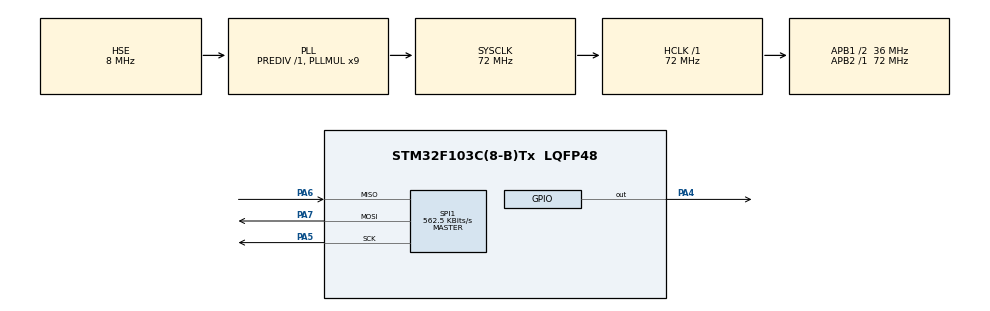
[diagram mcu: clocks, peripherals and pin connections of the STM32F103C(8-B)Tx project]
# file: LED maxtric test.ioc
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Mcu.Family=STM32F1
Mcu.Name=STM32F103C(8-B)Tx
Mcu.Package=LQFP48
NVIC.PriorityGroup=NVIC_PRIORITYGROUP_4
NVIC.SPI1_IRQn=true\:0\:0\:false\:false\:true\:true\:true\:true
PA13.Mode=Serial_Wire
PA13.Signal=SYS_JTMS-SWDIO
PA14.Mode=Serial_Wire
PA14.Signal=SYS_JTCK-SWCLK
PA4.GPIO_PuPd=GPIO_PULLUP
PA4.Signal=GPIO_Output
PA5.Mode=Full_Duplex_Master
PA5.Signal=SPI1_SCK
PA6.Mode=Full_Duplex_Master
PA6.Signal=SPI1_MISO
PA7.Mode=Full_Duplex_Master
PA7.Signal=SPI1_MOSI
PD0-OSC_IN.Mode=HSE-External-Oscillator
PD0-OSC_IN.Signal=RCC_OSC_IN
PD1-OSC_OUT.Mode=HSE-External-Oscillator
PD1-OSC_OUT.Signal=RCC_OSC_OUT
ProjectManager.HeapSize=0x200
ProjectManager.StackSize=0x400
ProjectManager.TargetToolchain=MDK-ARM V5
RCC.AHBFreq_Value=72000000
RCC.APB1CLKDivider=RCC_HCLK_DIV2
RCC.APB1Freq_Value=36000000
RCC.APB1TimFreq_Value=72000000
RCC.APB2Freq_Value=72000000
RCC.APB2TimFreq_Value=72000000
RCC.HCLKFreq_Value=72000000
RCC.PLLMUL=RCC_PLL_MUL9
RCC.PLLSourceVirtual=RCC_PLLSOURCE_HSE
RCC.SYSCLKFreq_VALUE=72000000
RCC.SYSCLKSource=RCC_SYSCLKSOURCE_PLLCLK
RCC.USBFreq_Value=72000000
SPI1.BaudRatePrescaler=SPI_BAUDRATEPRESCALER_128
SPI1.CalculateBaudRate=562.5 KBits/s
SPI1.Direction=SPI_DIRECTION_2LINES
SPI1.Mode=SPI_MODE_MASTER
SPI1.VirtualType=VM_MASTER
board=custom

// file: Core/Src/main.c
/* USER CODE BEGIN Header */
/**
  ******************************************************************************
  * @file           : main.c
  * @brief          : Main program body
  ******************************************************************************
  * @attention
  *
  * <h2><center>&copy; Copyright (c) 2021 STMicroelectronics.
  * All rights reserved.</center></h2>
  *
  * This software component is licensed by ST under BSD 3-Clause license,
  * the "License"; You may not use this file except in compliance with the
  * License. You may obtain a copy of the License at:
  *                        opensource.org/licenses/BSD-3-Clause
  *
  ******************************************************************************
  */
/* USER CODE END Header */
#include "main.h"

/* USER CODE BEGIN PTD */
#define No_Op  0x00
#define Digit0 0x01
#define Digit1 0x02
#define Digit2 0x03
#define Digit3 0x04
#define Digit4 0x05
#define Digit5 0x06
#define Digit6 0x07
#define Digit7 0x08

#define DecodeMode  0x09
#define Intensity   0x0A
#define ScanLimit   0x0B
#define Shutdown    0x0C
#define DisplayTest 0x0F
/* USER CODE END PTD */

 SPI_HandleTypeDef hspi1;

/* USER CODE BEGIN PV */
void MAX7219_write(uint8_t address, uint8_t data);
/* USER CODE END PV */

void SystemClock_Config(void);
static void MX_GPIO_Init(void);
static void MX_SPI1_Init(void);

/* USER CODE BEGIN 0 */
int show_num0[8][8] =
{ {0, 0, 1, 1, 1, 1, 0, 0},
  {0, 1, 1, 0, 0, 1, 1, 0},
  {0, 1, 1, 1, 0, 0, 1, 0},
  {0, 1, 0, 1, 1, 0, 1, 0},
  {0, 1, 0, 0, 1, 1, 1, 0},
  {0, 1, 0, 0, 0, 1, 1, 0},
  {0, 1, 1, 0, 0, 1, 1, 0},
  {0, 0, 1, 1, 1, 1, 0, 0}
};
int show_num1[8][8] =
{ {0, 0, 0, 0, 1, 0, 0, 0},
  {0, 0, 0, 1, 1, 0, 0, 0},
  {0, 0, 1, 1, 1, 0, 0, 0},
  {0, 0, 0, 1, 1, 0, 0, 0},
  {0, 0, 0, 1, 1, 0, 0, 0},
  {0, 0, 0, 1, 1, 0, 0, 0},
  {0, 0, 0, 1, 1, 0, 0, 0},
  {0, 0, 1, 1, 1, 1, 0, 0}
};
int show_num2[8][8] =
{ {0, 0, 1, 1, 1, 1, 0, 0},
  {0, 1, 1, 0, 0, 1, 1, 0},
  {0, 1, 0, 0, 0, 1, 1, 0},
  {0, 1, 0, 0, 0, 1, 1, 0},
  {0, 0, 0, 1, 1, 1, 0, 0},
  {0, 0, 1, 1, 0, 0, 0, 0},
  {0, 1, 1, 0, 0, 0, 0, 0},
  {0, 1, 1, 1, 1, 1, 1, 0}
};
int show_num3[8][8] =
{ {0, 0, 1, 1, 1, 1, 0, 0},
  {0, 1, 0, 0, 0, 1, 1, 0},
  {0, 0, 0, 0, 0, 1, 1, 0},
  {0, 0, 0, 1, 1, 1, 1, 0},
  {0, 0, 0, 1, 1, 1, 1, 0},
  {0, 0, 0, 0, 0, 1, 1, 0},
  {0, 1, 0, 0, 0, 1, 1, 0},
  {0, 0, 1, 1, 1, 1, 0, 0}
};
int show_num4[8][8] =
{ {0, 0, 0, 0, 0, 1, 0, 0},
  {0, 0, 0, 0, 1, 1, 0, 0},
  {0, 0, 0, 1, 1, 1, 0, 0},
  {0, 0, 1, 0, 1, 1, 0, 0},
  {0, 1, 0, 0, 1, 1, 0, 0},
  {0, 1, 1, 1, 1, 1, 1, 0},
  {0, 0, 0, 0, 1, 1, 0, 0},
  {0, 0, 0, 0, 1, 1, 0, 0}
};
int show_num5[8][8] =
{ {0, 1, 1, 1, 1, 1, 1, 0},
  {0, 1, 1, 0, 0, 0, 0, 0},
  {0, 1, 1, 0, 0, 0, 0, 0},
  {0, 1, 1, 1, 1, 1, 0, 0},
  {0, 1, 1, 1, 1, 1, 1, 0},
  {0, 0, 0, 0, 0, 1, 1, 0},
  {0, 1, 0, 0, 0, 1, 1, 0},
  {0, 0, 1, 1, 1, 1, 0, 0}
};
int show_num6[8][8] =
{ {0, 0, 1, 1, 1, 1, 0, 0},
  {0, 1, 1, 0, 0, 0, 0, 0},
  {0, 1, 1, 0, 0, 0, 0, 0},
  {0, 1, 1, 1, 1, 1, 0, 0},
  {0, 1, 1, 1, 1, 1, 1, 0},
  {0, 1, 1, 0, 0, 1, 1, 0},
  {0, 1, 1, 0, 0, 1, 1, 0},
  {0, 0, 1, 1, 1, 1, 0, 0}
};
int show_num7[8][8] =
{ {0, 1, 1, 1, 1, 1, 1, 0},
  {0, 1, 0, 0, 0, 1, 1, 0},
  {0, 0, 0, 0, 0, 1, 1, 0},
  {0, 0, 0, 0, 0, 1, 0, 0},
  {0, 0, 0, 0, 1, 1, 0, 0},
  {0, 0, 0, 1, 1, 0, 0, 0},
  {0, 0, 0, 1, 1, 0, 0, 0},
  {0, 0, 0, 1, 1, 0, 0, 0}
};
int show_num8[8][8] =
{ {0, 0, 1, 1, 1, 1, 0, 0},
  {0, 1, 1, 0, 0, 1, 1, 0},
  {0, 1, 1, 0, 0, 1, 1, 0},
  {0, 0, 1, 1, 1, 1, 0, 0},
  {0, 0, 1, 1, 1, 1, 0, 0},
  {0, 1, 1, 0, 0, 1, 1, 0},
  {0, 1, 1, 0, 0, 1, 1, 0},
  {0, 0, 1, 1, 1, 1, 0, 0}
};
int show_num9[8][8] =
{ {0, 0, 1, 1, 1, 1, 0, 0},
  {0, 1, 1, 0, 0, 1, 1, 0},
  {0, 1, 1, 0, 0, 1, 1, 0},
  {0, 1, 1, 1, 1, 1, 1, 0},
  {0, 0, 1, 1, 1, 1, 1, 0},
  {0, 0, 0, 0, 0, 1, 1, 0},
  {0, 1, 0, 0, 0, 1, 1, 0},
  {0, 0, 1, 1, 1, 1, 0, 0}
};

void MAX7219_write(uint8_t address, uint8_t data)
{
	uint8_t buf[2]={0};
	buf[0]=address;
	buf[1]=data;
	HAL_GPIO_WritePin(GPIOA, GPIO_PIN_3, GPIO_PIN_RESET);
	HAL_SPI_Transmit(&hspi1,buf, 2,1);
	HAL_GPIO_WritePin(GPIOA, GPIO_PIN_3, GPIO_PIN_SET);
	HAL_Delay(1);
}
uint8_t booltoByte(int (*ShowArray_ptr)[8])
{
	uint8_t data = 0x00;
  for (int i = 0; i < 8; i++)
    data = data << 1 | ShowArray_ptr[0][i];
  return data;
}
void SetPoint(uint8_t Seg,uint8_t value)
{
	MAX7219_write(Seg, value);
}
void draw(int (*ShowArray_ptr)[8])
{
  MAX7219_write(Digit0, booltoByte(&ShowArray_ptr[0]));
  MAX7219_write(Digit1, booltoByte(&ShowArray_ptr[1]));
  MAX7219_write(Digit2, booltoByte(&ShowArray_ptr[2]));
  MAX7219_write(Digit3, booltoByte(&ShowArray_ptr[3]));
  MAX7219_write(Digit4, booltoByte(&ShowArray_ptr[4]));
  MAX7219_write(Digit5, booltoByte(&ShowArray_ptr[5]));
  MAX7219_write(Digit6, booltoByte(&ShowArray_ptr[6]));
  MAX7219_write(Digit7, booltoByte(&ShowArray_ptr[7]));
}
void MAX7219clear()
{
  MAX7219_write(Digit0, 0x00);
  MAX7219_write(Digit1, 0x00);
  MAX7219_write(Digit2, 0x00);
  MAX7219_write(Digit3, 0x00);
  MAX7219_write(Digit4, 0x00);
  MAX7219_write(Digit5, 0x00);
  MAX7219_write(Digit6, 0x00);
  MAX7219_write(Digit7, 0x00);
}
void ShowNum()
{
	MAX7219clear();
	HAL_Delay(500);
	draw(&show_num0[0]);
	HAL_Delay(500);
	draw(&show_num1[0]);
	HAL_Delay(500);
	draw(&show_num2[0]);
	HAL_Delay(500);
	draw(&show_num3[0]);
	HAL_Delay(500);
	draw(&show_num4[0]);
	HAL_Delay(500);
	draw(&show_num5[0]);
	HAL_Delay(500);
	draw(&show_num6[0]);
	HAL_Delay(500);
	draw(&show_num7[0]);
	HAL_Delay(500);
	draw(&show_num8[0]);
	HAL_Delay(500);
	draw(&show_num9[0]);
	HAL_Delay(500);
}
/* USER CODE END 0 */

int main(void)
{

  /* MCU Configuration--------------------------------------------------------*/

  /* Reset of all peripherals, Initializes the Flash interface and the Systick. */
  HAL_Init();

  /* Configure the system clock */
  SystemClock_Config();

  /* Initialize all configured peripherals */
  MX_GPIO_Init();
  MX_SPI1_Init();
  /* USER CODE BEGIN 2 */
  MAX7219_write(DecodeMode, 0x00);
  MAX7219_write(Intensity, 0x02);
  MAX7219_write(Shutdown, 0x01);
  MAX7219_write(DisplayTest, 0x00);
  MAX7219_write(ScanLimit, 0x07);
  MAX7219clear();//Clear MAX7219 LED Show

  /* USER CODE END 2 */

  /* Infinite loop */
  /* USER CODE BEGIN WHILE */
  int j =0x01;
  while (1)
  {
	  ShowNum();
	  j =0x01;
	  for(int i=0;i<7;i++)
	  {
		  SetPoint(Digit0,j);
		  SetPoint(Digit1,j);
		  SetPoint(Digit2,j);
		  SetPoint(Digit3,j);
		  SetPoint(Digit4,j);
		  SetPoint(Digit5,j);
		  SetPoint(Digit6,j);
		  SetPoint(Digit7,j);
		  j = j<<1;
		  HAL_Delay(300);
	  }
	  for(int i=0;i<8;i++)
	  {
		  SetPoint(Digit0,j);
		  SetPoint(Digit1,j);
		  SetPoint(Digit2,j);
		  SetPoint(Digit3,j);
		  SetPoint(Digit4,j);
		  SetPoint(Digit5,j);
		  SetPoint(Digit6,j);
		  SetPoint(Digit7,j);
		  j = j>>1;
		  HAL_Delay(300);
	  }
	  MAX7219clear();
	  for(int i=1;i<=8;i++)
	  {
		  SetPoint(i,0xff);
		  SetPoint(i-1,0x00);
		  HAL_Delay(300);
	  }
	  j = 0x08;
	  for(int i=8;i>=1;i--)
	  {
		  SetPoint(i,0x00);
		  SetPoint(i-1,0xff);
		  HAL_Delay(300);
	  }

    /* USER CODE END WHILE */

  }
}

void SystemClock_Config(void)
{
  RCC_OscInitTypeDef RCC_OscInitStruct = {0};
  RCC_ClkInitTypeDef RCC_ClkInitStruct = {0};

  /** Initializes the RCC Oscillators according to the specified parameters
  * in the RCC_OscInitTypeDef structure.
  */
  RCC_OscInitStruct.OscillatorType = RCC_OSCILLATORTYPE_HSE;
  RCC_OscInitStruct.HSEState = RCC_HSE_ON;
  RCC_OscInitStruct.HSEPredivValue = RCC_HSE_PREDIV_DIV1;
  RCC_OscInitStruct.HSIState = RCC_HSI_ON;
  RCC_OscInitStruct.PLL.PLLState = RCC_PLL_ON;
  RCC_OscInitStruct.PLL.PLLSource = RCC_PLLSOURCE_HSE;
  RCC_OscInitStruct.PLL.PLLMUL = RCC_PLL_MUL9;
  if (HAL_RCC_OscConfig(&RCC_OscInitStruct) != HAL_OK)
  {
    Error_Handler();
  }

  /** Initializes the CPU, AHB and APB buses clocks
  */
  RCC_ClkInitStruct.ClockType = RCC_CLOCKTYPE_HCLK|RCC_CLOCKTYPE_SYSCLK
                              |RCC_CLOCKTYPE_PCLK1|RCC_CLOCKTYPE_PCLK2;
  RCC_ClkInitStruct.SYSCLKSource = RCC_SYSCLKSOURCE_PLLCLK;
  RCC_ClkInitStruct.AHBCLKDivider = RCC_SYSCLK_DIV1;
  RCC_ClkInitStruct.APB1CLKDivider = RCC_HCLK_DIV2;
  RCC_ClkInitStruct.APB2CLKDivider = RCC_HCLK_DIV1;

  if (HAL_RCC_ClockConfig(&RCC_ClkInitStruct, FLASH_LATENCY_2) != HAL_OK)
  {
    Error_Handler();
  }
}

static void MX_SPI1_Init(void)
{

  /* SPI1 parameter configuration*/
  hspi1.Instance = SPI1;
  hspi1.Init.Mode = SPI_MODE_MASTER;
  hspi1.Init.Direction = SPI_DIRECTION_2LINES;
  hspi1.Init.DataSize = SPI_DATASIZE_8BIT;
  hspi1.Init.CLKPolarity = SPI_POLARITY_LOW;
  hspi1.Init.CLKPhase = SPI_PHASE_1EDGE;
  hspi1.Init.NSS = SPI_NSS_SOFT;
  hspi1.Init.BaudRatePrescaler = SPI_BAUDRATEPRESCALER_128;
  hspi1.Init.FirstBit = SPI_FIRSTBIT_MSB;
  hspi1.Init.TIMode = SPI_TIMODE_DISABLE;
  hspi1.Init.CRCCalculation = SPI_CRCCALCULATION_DISABLE;
  hspi1.Init.CRCPolynomial = 10;
  if (HAL_SPI_Init(&hspi1) != HAL_OK)
  {
    Error_Handler();
  }

}

static void MX_GPIO_Init(void)
{
  GPIO_InitTypeDef GPIO_InitStruct = {0};

  /* GPIO Ports Clock Enable */
  __HAL_RCC_GPIOD_CLK_ENABLE();
  __HAL_RCC_GPIOA_CLK_ENABLE();

  /*Configure GPIO pin Output Level */
  HAL_GPIO_WritePin(GPIOA, GPIO_PIN_4, GPIO_PIN_RESET);

  /*Configure GPIO pin : PA4 */
  GPIO_InitStruct.Pin = GPIO_PIN_4;
  GPIO_InitStruct.Mode = GPIO_MODE_OUTPUT_PP;
  GPIO_InitStruct.Pull = GPIO_PULLUP;
  GPIO_InitStruct.Speed = GPIO_SPEED_FREQ_LOW;
  HAL_GPIO_Init(GPIOA, &GPIO_InitStruct);

}

void Error_Handler(void)
{
  __disable_irq();
  while (1)
  {
  }
}
